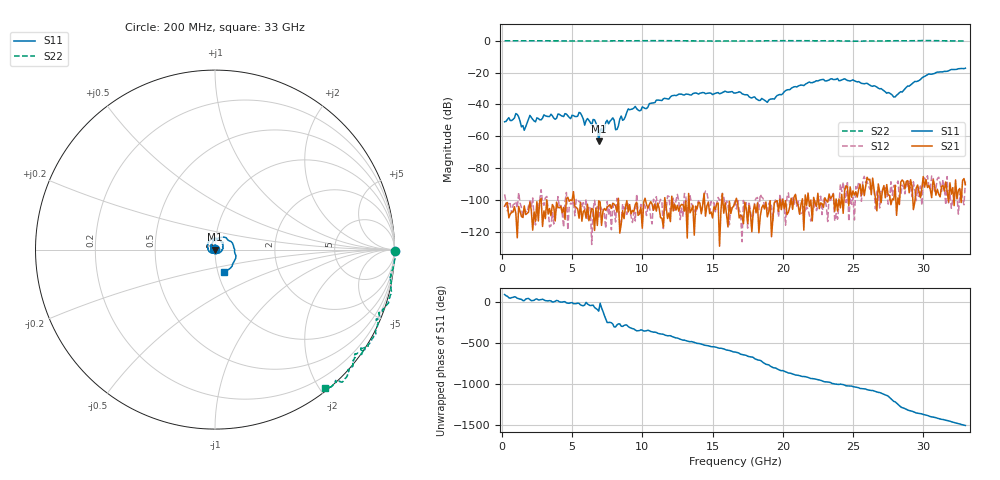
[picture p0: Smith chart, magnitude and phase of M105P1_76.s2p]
# GHZ S RI R 50
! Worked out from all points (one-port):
!   329 points, 200 MHz to 33 GHz, reference 50 ohm
!   lowest |S11| = -63.1 dB at 6.9 GHz (marker M1), VSWR 1.00, Z = 50 - j0.0632 ohm
!   |S11| at or under -10 dB: start of sweep to end of sweep
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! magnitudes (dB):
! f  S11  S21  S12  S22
! 200 MHz  -50.9  -103.9  -96.5  0.0
! 1 GHz  -45.7  -108.4  -100.8  0.0
! 1.6 GHz  -56.2  -103.7  -105.5  0.0
! 2 GHz  -46.9  -101.4  -100.5  0.0
! 2.4 GHz  -50.9  -113.4  -115.7  0.0
! 5.7 GHz  -47.1  -113.3  -104.5  -0.1
! 5.9 GHz  -53.0  -106.3  -106.0  -0.1
! 6.6 GHz  -49.6  -119.1  -100.2  -0.1
! 6.8 GHz  -54.2  -116.0  -104.2  -0.1
! 6.9 GHz  -63.1  -100.6  -111.6  -0.1
! 7 GHz  -56.2  -101.3  -102.6  -0.1
! 7.5 GHz  -49.9  -104.6  -101.0  -0.1
! 7.9 GHz  -48.4  -102.0  -103.3  0.0
! 8.2 GHz  -55.7  -107.6  -99.0  0.0
! 9 GHz  -42.8  -107.5  -102.0  0.0
! 11.2 GHz  -37.3  -105.2  -101.9  0.1
! 16.6 GHz  -32.9  -102.0  -99.8  -0.2
! 18.9 GHz  -38.7  -110.6  -106.7  0.0
! 22.1 GHz  -26.3  -113.1  -106.1  0.0
! 25 GHz  -24.6  -94.4  -98.5  -0.2
! 27.6 GHz  -32.8  -97.1  -100.6  0.0
! 33 GHz  -17.2  -90.4  -88.3  -0.1
